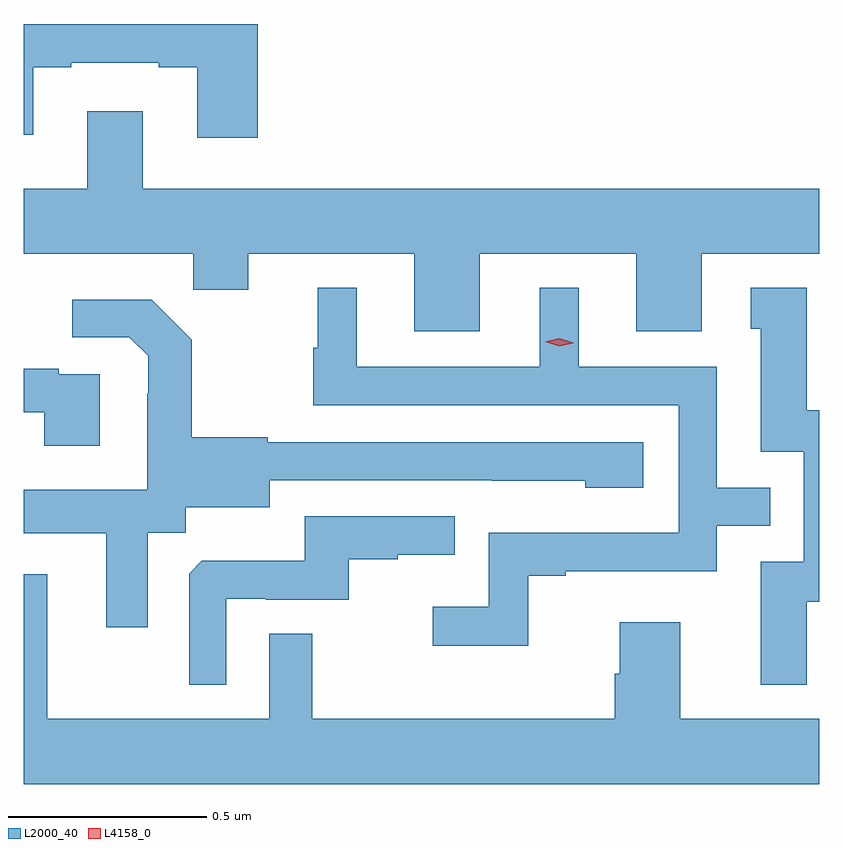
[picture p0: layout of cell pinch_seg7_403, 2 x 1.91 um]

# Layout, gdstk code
import gdstk
lib = gdstk.Library(unit=1e-6, precision=1e-09)
def P(c, l, *ps):  # polygons
    for p in ps: c.add(gdstk.Polygon(p, *l))
L2000_40 = (2000, 40)
L4158_0 = (4158, 0)

pinch_seg7_403 = lib.new_cell('pinch_seg7_403')
P(pinch_seg7_403, L2000_40, [(551.318,1002.526),(550.729,1002.526),(550.729,1002.248),(550.753,1002.248),(550.753,1002.417),(550.849,1002.417),(550.849,1002.429),(551.069,1002.429),(551.069,1002.417),(551.165,1002.417),(551.165,1002.24),(551.318,1002.24)],
  [(551.875,1001.948),(552.269,1001.948),(552.269,1001.754),(552.433,1001.754),(552.433,1001.948),(552.729,1001.948),(552.729,1002.112),(551.029,1002.112),(551.029,1002.307),(550.889,1002.307),(550.889,1002.112),(550.729,1002.112),(550.729,1001.948),(551.155,1001.948),(551.155,1001.858),(551.293,1001.858),(551.293,1001.948),(551.711,1001.948),(551.711,1001.754),(551.875,1001.754)],
  [(552.697,1001.074),(552.729,1001.074),(552.729,1001.555),(552.697,1001.555),(552.697,1001.863),(552.557,1001.863),(552.557,1001.76),(552.581,1001.76),(552.581,1001.451),(552.69,1001.451),(552.69,1001.175),(552.581,1001.175),(552.581,1000.866),(552.697,1000.866)],
  [(551.997,1001.139),(552.091,1001.139),(552.091,1001.151),(552.471,1001.151),(552.471,1001.265),(552.605,1001.265),(552.605,1001.361),(552.471,1001.361),(552.471,1001.664),(552.124,1001.664),(552.124,1001.863),(552.026,1001.863),(552.026,1001.664),(551.566,1001.664),(551.566,1001.863),(551.468,1001.863),(551.468,1001.712),(551.457,1001.712),(551.457,1001.568),(552.375,1001.568),(552.375,1001.247),(551.898,1001.247),(551.898,1001.062),(551.757,1001.062),(551.757,1000.964),(551.997,1000.964)],
  [(551.041,1001.248),(551.136,1001.248),(551.136,1001.312),(551.347,1001.312),(551.347,1001.379),(551.905,1001.379),(551.905,1001.378),(552.141,1001.378),(552.141,1001.36),(552.286,1001.36),(552.286,1001.475),(551.343,1001.475),(551.343,1001.488),(551.151,1001.488),(551.151,1001.733),(551.051,1001.833),(550.851,1001.833),(550.851,1001.739),(550.995,1001.739),(551.042,1001.692),(551.042,1001.597),(551.04,1001.597),(551.04,1001.356),(550.729,1001.356),(550.729,1001.246),(550.937,1001.246),(550.937,1001.01),(551.041,1001.01)],
  [(550.921,1001.646),(550.817,1001.646),(550.817,1001.659),(550.729,1001.659),(550.729,1001.55),(550.781,1001.55),(550.781,1001.466),(550.921,1001.466)],
  [(551.238,1001.082),(551.338,1001.082),(551.338,1001.079),(551.546,1001.079),(551.546,1001.181),(551.669,1001.181),(551.669,1001.192),(551.813,1001.192),(551.813,1001.289),(551.436,1001.289),(551.436,1001.177),(551.177,1001.177),(551.145,1001.145),(551.145,1000.865),(551.238,1000.865)],
  [(552.729,1000.78),(552.379,1000.78),(552.379,1001.023),(552.227,1001.023),(552.227,1000.893),(552.215,1000.893),(552.215,1000.78),(551.455,1000.78),(551.455,1000.994),(551.346,1000.994),(551.346,1000.78),(550.789,1000.78),(550.789,1001.143),(550.729,1001.143),(550.729,1000.616),(552.729,1000.616)])
P(pinch_seg7_403, L4158_0, [(552.075,1001.716),(552.04,1001.727),(552.039,1001.727),(552.04,1001.727),(552.075,1001.736),(552.11,1001.725),(552.111,1001.725),(552.11,1001.724)])

lib.write_gds('pinch_seg7_403.gds')
